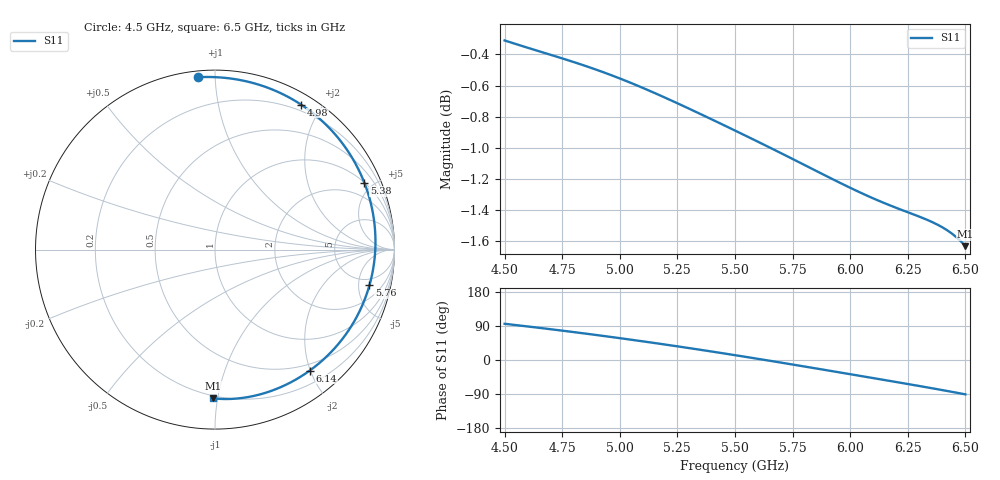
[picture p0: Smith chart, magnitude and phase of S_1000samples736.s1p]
! TOUCHSTONE file generated by CST MICROWAVE STUDIO
! Date and time: Sat Oct 29 05:15:40 2022
! Project name: L.cst
! Parameters = {Di=1.27; Epsilon_r=1.56; InnerDiameter=1.27; Length=2; Lf=10; Lg=60; OuterConductorThickness=0.2921; OuterDiameter=3.6; Wf=3; Wp=41.2; de=1.5; df=6.8; g=0.8; gx=3.58589; gy=4.24269; h=2.34; hf=1.524; px=9.11746; py=13.5585; w=9.7; wx=5.53157; wy=9.31584}
! Header version: 2018
! Port assignment regex: !\s*Touchstone port\s*([0-9]+)\s*=\s*(CST MWS port|CST DS port)\s*([0-9]+|Zmin|Zmax)\s*\(\"(.*)\"\)(\s*mode\s*([0-9]+))?.*
! Touchstone port assignment:
! Touchstone port 1 = CST MWS port 1 ("")
# GHz S DB R 50
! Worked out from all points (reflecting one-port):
!   101 points, 4.5 GHz to 6.5 GHz, reference 50 ohm
!   lowest |S11| = -1.6 dB at 6.5 GHz (marker M1), VSWR 10.68, Z = 9.17 - j48.6 ohm
!   phase of S11 starts at 96 deg and turns -186 deg over the sweep
!   S11 on the Smith chart (normalised r, x): 4.5 GHz: 0.03, +0.91; 4.98 GHz: 0.13, +1.75; 5.38 GHz: 1.01, +4.46; 5.76 GHz: 3.75, -6.76; 6.14 GHz: 0.39, -1.99; 6.5 GHz: 0.18, -0.97
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4.5  -0.31 95.6
4.64  -0.38 85.6
4.76  -0.43 76.7
4.88  -0.49 67.4
4.98  -0.54 59.3
5  -0.55 57.6
5.12  -0.63 47.5
5.18  -0.67 42.2
5.26  -0.72 35.1
5.38  -0.80 24.1
5.44  -0.85 18.5
5.5  -0.89 12.7
5.58  -0.95 5.0
5.64  -0.99 -0.9
5.7  -1.03 -6.9
5.76  -1.08 -13.0
5.82  -1.12 -19.0
5.88  -1.17 -25.2
5.94  -1.21 -31.3
6  -1.26 -37.5
6.08  -1.31 -45.7
6.14  -1.35 -51.9
6.2  -1.38 -58.1
6.26  -1.42 -64.4
6.32  -1.45 -70.8
6.38  -1.49 -77.3
6.44  -1.55 -83.9
6.5  -1.63 -90.7
